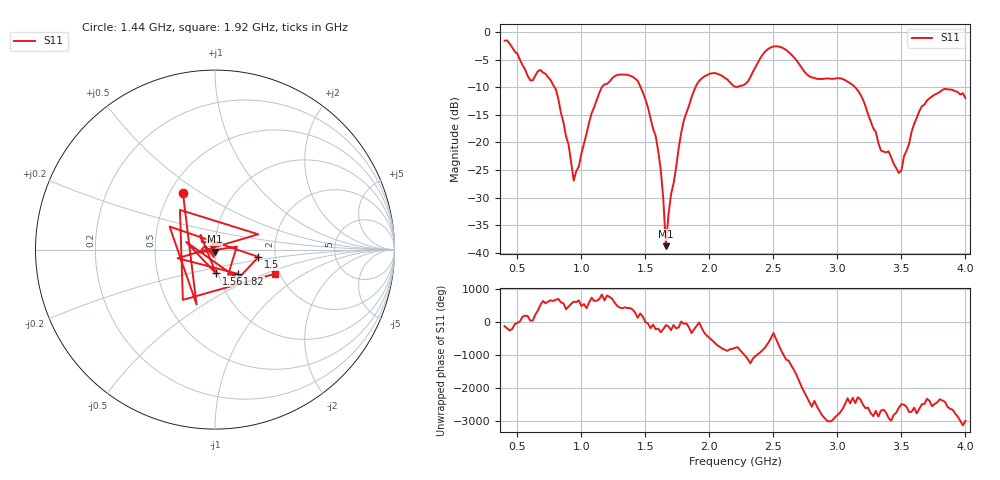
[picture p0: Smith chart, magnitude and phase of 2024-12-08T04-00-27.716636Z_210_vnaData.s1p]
!Created with skrf (http://scikit-rf.org).
# Hz S RI R 50.0
!freq ReS11 ImS11
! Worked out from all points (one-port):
!   181 points, 400 MHz to 4 GHz, reference 50 ohm
!   lowest |S11| = -38.8 dB at 1.66 GHz (marker M1), VSWR 1.02, Z = 49.7 - j1.12 ohm
!   |S11| at or under -10 dB: 789.9 MHz to 1.159 GHz (369.4 MHz wide, 37.9 % of centre); 1.463 GHz to 1.892 GHz (428.8 MHz wide, 25.6 % of centre); 3.138 GHz to end of sweep
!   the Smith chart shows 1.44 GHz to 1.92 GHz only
!   S11 on the Smith chart (normalised r, x): 1.44 GHz: 0.59, +0.42; 1.5 GHz: 1.63, -0.14; 1.56 GHz: 0.98, -0.26; 1.82 GHz: 1.24, -0.35; 1.92 GHz: 1.88, -0.58
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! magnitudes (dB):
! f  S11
! 400 MHz  -1.6
! 600 MHz  -8.8
! 760 MHz  -8.7
! 860 MHz  -16.4
! 940 MHz  -26.9
! 1.16 GHz  -10.0
! 1.3 GHz  -7.7
! 1.44 GHz  -8.9
! 1.5 GHz  -12.2
! 1.56 GHz  -17.5
! 1.62 GHz  -25.0
! 1.66 GHz  -38.8
! 1.7 GHz  -29.4
! 1.76 GHz  -21.0
! 1.82 GHz  -14.6
! 1.92 GHz  -8.9
! 2.2 GHz  -9.9
! 2.48 GHz  -2.8
! 2.66 GHz  -4.6
! 2.8 GHz  -8.2
! 3.1 GHz  -9.3
! 3.2 GHz  -12.2
! 3.34 GHz  -21.5
! 3.48 GHz  -25.5
! 3.56 GHz  -20.3
! 3.7 GHz  -12.4
! 3.84 GHz  -10.3
! 4 GHz  -12.0
